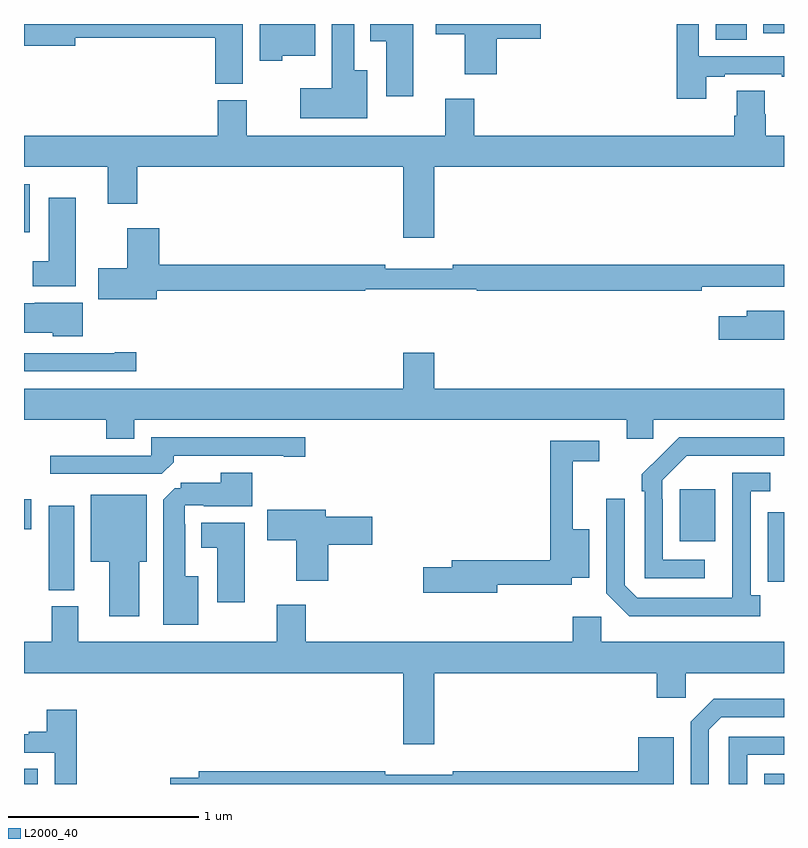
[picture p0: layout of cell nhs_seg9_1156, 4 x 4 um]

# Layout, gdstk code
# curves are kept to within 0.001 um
import gdstk
lib = gdstk.Library(unit=1e-6, precision=1e-09)
def R(c, l, rs):  # rectangles x0, y0, x1, y1
    for r in rs: c.add(gdstk.rectangle(r[:2], r[2:], *l))
def P(c, l, *ps):  # polygons
    for p in ps: c.add(gdstk.Polygon(p, *l))
L2000_40 = (2000, 40)

nhs_seg9_1156 = lib.new_cell('nhs_seg9_1156')
R(nhs_seg9_1156, L2000_40, [(175,1198.5,175.072,1198.58), (178.895,1198.5,179,1198.555), (175.13,1199.521,175.264,1199.965), (178.451,1199.777,178.639,1200.052), (175,1199.84,175.039,1199.998), (175,1201.403,175.03,1201.657), (178.64,1202.416,178.804,1202.5), (178.892,1202.451,179,1202.5)])
P(nhs_seg9_1156, L2000_40, [(176.152,1202.5),(175,1202.5),(175,1202.386),(175.27,1202.386),(175.27,1202.428),(176.006,1202.428),(176.006,1202.185),(176.152,1202.185)],
  [(177.488,1202.423),(177.721,1202.423),(177.721,1202.5),(177.168,1202.5),(177.168,1202.446),(177.32,1202.446),(177.32,1202.235),(177.488,1202.235)],
  [(177.049,1202.5),(176.822,1202.5),(176.822,1202.408),(176.906,1202.408),(176.906,1202.121),(177.049,1202.121)],
  [(176.358,1202.333),(176.533,1202.333),(176.533,1202.5),(176.24,1202.5),(176.24,1202.306),(176.358,1202.306)],
  [(176.806,1202.257),(176.737,1202.257),(176.737,1202.5),(176.621,1202.5),(176.621,1202.161),(176.454,1202.161),(176.454,1202.003),(176.806,1202.003)],
  [(178.591,1202.223),(178.687,1202.223),(178.687,1202.235),(178.987,1202.235),(178.987,1202.223),(179,1202.223),(179,1202.331),(178.551,1202.331),(178.551,1202.5),(178.435,1202.5),(178.435,1202.106),(178.591,1202.106)],
  [(177.16,1201.748),(179,1201.748),(179,1201.912),(178.904,1201.912),(178.904,1202.025),(178.899,1202.025),(178.899,1202.15),(178.751,1202.15),(178.751,1202.018),(178.739,1202.018),(178.739,1201.912),(177.371,1201.912),(177.371,1202.107),(177.218,1202.107),(177.218,1201.912),(176.173,1201.912),(176.173,1202.1),(176.021,1202.1),(176.021,1201.912),(175,1201.912),(175,1201.748),(175.442,1201.748),(175.442,1201.554),(175.595,1201.554),(175.595,1201.748),(176.996,1201.748),(176.996,1201.374),(177.16,1201.374)],
  [(175.273,1201.585),(175.13,1201.585),(175.13,1201.252),(175.046,1201.252),(175.046,1201.121),(175.273,1201.121)],
  [(175.699,1201.096),(176.795,1201.096),(176.795,1201.104),(177.382,1201.104),(177.382,1201.096),(178.568,1201.096),(178.568,1201.116),(179,1201.116),(179,1201.232),(177.256,1201.232),(177.256,1201.213),(176.9,1201.213),(176.9,1201.232),(175.712,1201.232),(175.712,1201.426),(175.544,1201.426),(175.544,1201.215),(175.392,1201.215),(175.392,1201.052),(175.699,1201.052)],
  [(175.309,1201.033),(175.057,1201.033),(175.057,1201.029),(175,1201.029),(175,1200.875),(175.152,1200.875),(175.152,1200.857),(175.309,1200.857)],
  [(179,1200.99),(178.805,1200.99),(178.805,1200.961),(178.656,1200.961),(178.656,1200.839),(179,1200.839)],
  [(175.591,1200.773),(175.478,1200.773),(175.478,1200.768),(175,1200.768),(175,1200.672),(175.591,1200.672)],
  [(175.579,1200.416),(178.172,1200.416),(178.172,1200.318),(178.311,1200.318),(178.311,1200.416),(179,1200.416),(179,1200.58),(177.16,1200.58),(177.16,1200.769),(176.996,1200.769),(176.996,1200.58),(175,1200.58),(175,1200.416),(175.432,1200.416),(175.432,1200.317),(175.579,1200.317)],
  [(178.582,1199.679),(178.362,1199.679),(178.362,1199.999),(178.359,1199.999),(178.359,1200.099),(178.488,1200.228),(179,1200.228),(179,1200.324),(178.448,1200.324),(178.251,1200.129),(178.251,1200.041),(178.266,1200.041),(178.266,1199.583),(178.582,1199.583)],
  [(175.787,1200.194),(175.787,1200.228),(176.366,1200.228),(176.366,1200.223),(176.479,1200.223),(176.479,1200.324),(175.671,1200.324),(175.671,1200.228),(175.137,1200.228),(175.137,1200.132),(175.725,1200.132)],
  [(177.49,1199.55),(177.882,1199.55),(177.882,1199.585),(177.976,1199.585),(177.976,1199.842),(177.887,1199.842),(177.887,1200.198),(178.027,1200.198),(178.027,1200.306),(177.769,1200.306),(177.769,1199.678),(177.251,1199.678),(177.251,1199.642),(177.102,1199.642),(177.102,1199.507),(177.49,1199.507)],
  [(175.918,1199.593),(175.849,1199.593),(175.849,1199.867),(175.845,1199.867),(175.845,1199.967),(175.945,1199.967),(175.945,1199.963),(176.2,1199.963),(176.2,1200.139),(176.036,1200.139),(176.036,1200.085),(175.824,1200.085),(175.824,1200.057),(175.793,1200.057),(175.733,1199.997),(175.733,1199.339),(175.918,1199.339)],
  [(178.876,1199.494),(178.824,1199.494),(178.824,1200.042),(178.927,1200.042),(178.927,1200.138),(178.728,1200.138),(178.727,1199.481),(178.227,1199.481),(178.161,1199.547),(178.161,1200.001),(178.065,1200.001),(178.065,1199.505),(178.186,1199.384),(178.876,1199.384)],
  [(175.606,1199.669),(175.645,1199.669),(175.645,1200.022),(175.352,1200.022),(175.352,1199.669),(175.448,1199.669),(175.448,1199.382),(175.606,1199.382)],
  [(176.6,1199.759),(176.833,1199.759),(176.833,1199.906),(176.587,1199.906),(176.587,1199.944),(176.28,1199.944),(176.28,1199.782),(176.432,1199.782),(176.432,1199.571),(176.6,1199.571)],
  [(179,1199.929),(178.914,1199.929),(178.914,1199.674),(178.915,1199.674),(178.915,1199.565),(179,1199.565)],
  [(176.161,1199.875),(175.934,1199.875),(175.934,1199.744),(176.018,1199.744),(176.018,1199.457),(176.161,1199.457)],
  [(177.16,1199.084),(178.331,1199.084),(178.331,1198.953),(178.482,1198.953),(178.482,1199.084),(179,1199.084),(179,1199.248),(178.038,1199.248),(178.038,1199.38),(177.887,1199.38),(177.887,1199.248),(176.483,1199.248),(176.483,1199.443),(176.33,1199.443),(176.33,1199.248),(175.285,1199.248),(175.285,1199.436),(175.145,1199.436),(175.145,1199.248),(175,1199.248),(175,1199.084),(176.996,1199.084),(176.996,1198.71),(177.16,1198.71)],
  [(178.605,1198.785),(178.671,1198.851),(179,1198.851),(179,1198.948),(178.63,1198.948),(178.509,1198.827),(178.509,1198.5),(178.605,1198.5)],
  [(175.277,1198.891),(175.121,1198.891),(175.121,1198.774),(175.025,1198.774),(175.025,1198.761),(175,1198.761),(175,1198.665),(175.161,1198.665),(175.161,1198.5),(175.277,1198.5)],
  [(178.806,1198.653),(179,1198.653),(179,1198.749),(178.71,1198.749),(178.71,1198.5),(178.806,1198.5)],
  [(178.42,1198.747),(178.233,1198.747),(178.233,1198.568),(177.256,1198.568),(177.256,1198.549),(176.9,1198.549),(176.9,1198.568),(175.919,1198.568),(175.919,1198.532),(175.77,1198.532),(175.77,1198.5),(178.42,1198.5)])

lib.write_gds('nhs_seg9_1156.gds')
